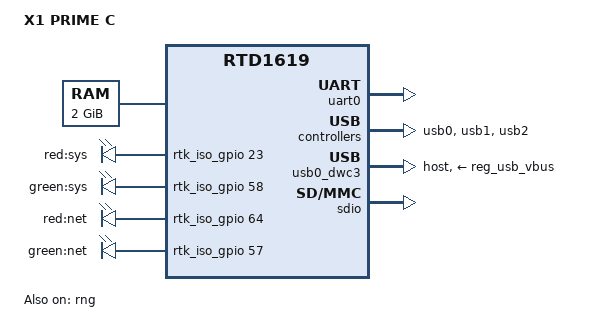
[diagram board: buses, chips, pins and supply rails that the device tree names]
// SPDX-License-Identifier: (GPL-2.0-or-later OR BSD-2-Clause)
/*
 * @sib0ndt
 */

/dts-v1/;

#include "rtd1619.dtsi"

/ {
	compatible = "realtek,mjolnir", "realtek,rtd1619";
	model = "X1 PRIME C";

	memory@200000 {
		device_type = "memory";
		reg = <0x200000 0x7fe00000>; /* ~ 2GB */
	};

	chosen {
		stdout-path = "serial0:115200n8";
	};

	aliases {
		serial0 = &uart0;
		serial1 = &uart1;
		serial2 = &uart2;
		ethernet0 = &nic;
	};

	leds {
		compatible = "gpio-leds";

		led_sys_red {
			label = "red:sys";
			gpios = <&rtk_iso_gpio 23 0>;
			default-state = "off";
		};

		led_sys_green {
			label = "green:sys";
			gpios = <&rtk_iso_gpio 58 0>;
			default-state = "off";
		};

		led_net_red {
			label = "red:net";
			gpios = <&rtk_iso_gpio 64 0>;
			default-state = "off";
		};

		led_net_green {
			label = "green:net";
			gpios = <&rtk_iso_gpio 57 0>;
			default-state = "off";
		};
	};
};

&reg_usb_vbus {
	regulator-always-on;
};

&cpu0 {
	cpu-supply = <&vdd_cpu>;
};

&cpu1 {
	cpu-supply = <&vdd_cpu>;
};

&cpu2 {
	cpu-supply = <&vdd_cpu>;
};

&cpu3 {
	cpu-supply = <&vdd_cpu>;
};

&cpu4 {
	cpu-supply = <&vdd_cpu>;
};

&cpu5 {
	cpu-supply = <&vdd_cpu>;
};

/* debug console (J1) */
&uart0 {
	status = "okay";
};

/* M.2 slot (CON4) */
&uart1 {
	status = "disabled";
};

&uart2 {
	status = "disabled";
};

&usb0 {
	status = "okay";
};

&usb0_dwc3 {
	dr_mode = "host";
	maximum-speed = "super-speed";
	vbus-supply = <&reg_usb_vbus>;
};

&usb1 {
	status = "okay";
	usb@98029000 {
		vbus-supply = <&reg_usb_vbus>;
	};
};

&usb2 {
	status = "okay";
	usb@98050000 {
		vbus-supply = <&reg_usb_vbus>;
	};
};

&sdio {
	status = "okay";
};

&rng {
	status = "okay";
};

&pwm {
	status = "disabled";
};
